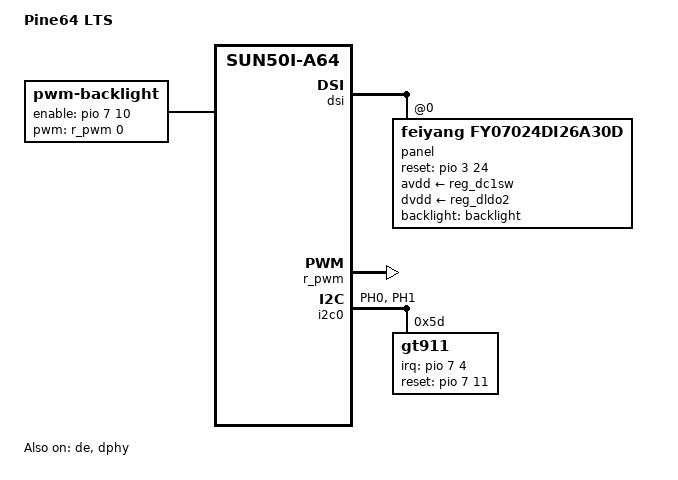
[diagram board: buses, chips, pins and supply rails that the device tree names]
/*
 * SPDX-License-Identifier: (GPL-2.0+ OR MIT)
 *
 * Copyright (c) 2018 ARM Ltd.
 */

#include "sun50i-a64-sopine-baseboard.dts"
#include <dt-bindings/pwm/pwm.h>

/ {
	model = "Pine64 LTS";
	compatible = "pine64,pine64-lts", "allwinner,sun50i-r18",
		     "allwinner,sun50i-a64";

	backlight: backlight {
		compatible = "pwm-backlight";
		pwms = <&r_pwm 0 50000 PWM_POLARITY_INVERTED>;
		brightness-levels = <1 2 4 8 16 32 64 128 512>;
		default-brightness-level = <8>;
		enable-gpios = <&pio 7 10 GPIO_ACTIVE_HIGH>; /* LCD-BL-EN: PH10 */
	};
};

&de {
	status = "okay";
};

&dphy {
	status = "okay";
};

&dsi {
	vcc-dsi-supply = <&reg_dldo1>;		/* VCC3V3-DSI */
	#address-cells = <1>;
	#size-cells = <0>;
	status = "okay";

	panel@0 {
		compatible = "feiyang,fy07024di26a30d";
		reg = <0>;
		avdd-supply = <&reg_dc1sw>;	/* VCC-LCD */
		dvdd-supply = <&reg_dldo2>;	/* VCC-MIPI */
		reset-gpios = <&pio 3 24 GPIO_ACTIVE_HIGH>; /* LCD-RST: PD24 */
		backlight = <&backlight>;
	};
};

&r_pwm {
	pinctrl-names = "default";
	pinctrl-0 = <&r_pwm_pin>;
	status = "okay";
};


&i2c0 {
    pinctrl-names = "default";
    pinctrl-0 = <&i2c0_pins>;
    status = "okay";

    gt911@5d {
        compatibile = "goodix,gt911";
        reg = <0x5d>;

        pinctrl-names = "default";
        pinctrl-0 = <&gt911_irq_pin>, <&gt911_reset_pin>;
        interrput-parent = <&pio>;
        interrputs = <7 4 IRQ_TYPE_EDGE_RISING>;
        irq-gpios = <&pio 7 4 GPIO_ACTIVE_HIGH>;
        reset-gpios = <&pio 7 11 GPIO_ACTIVE_HIGH>;
    };

};

&pio {
    i2c0_pins: i2c0_pins {
        pins = "PH0", "PH1";
        function = "i2c0";
    };
    gt911_irq_pin: gt911_irq_pin {
        pins = "PH4";
        function = "irq";
    };

    gt911_reset_pin: gt911_reset_pin {
        pins = "PH11";
        function = "gpio_out";
    };
};
